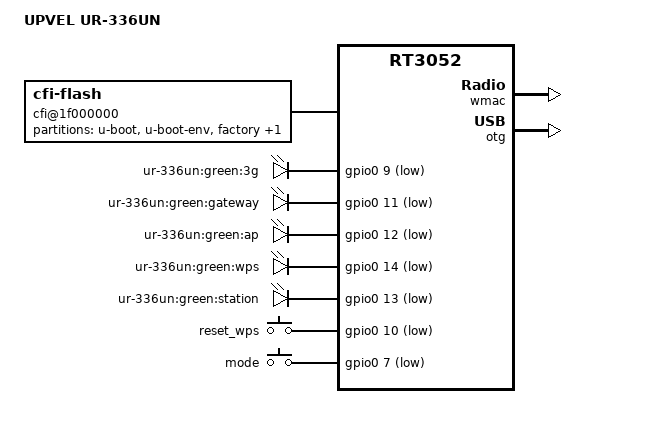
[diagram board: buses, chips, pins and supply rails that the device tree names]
/dts-v1/;

#include "rt3050.dtsi"

#include <dt-bindings/gpio/gpio.h>
#include <dt-bindings/input/input.h>

/ {
	compatible = "upvel,ur-336un", "ralink,rt3052-soc";
	model = "UPVEL UR-336UN";

	aliases {
		led-boot = &led_wps;
		led-failsafe = &led_wps;
		led-running = &led_wps;
		led-upgrade = &led_wps;
	};

	cfi@1f000000 {
		compatible = "cfi-flash";
		reg = <0x1f000000 0x800000>;
		bank-width = <2>;
		device-width = <2>;

		partitions {
			compatible = "fixed-partitions";
			#address-cells = <1>;
			#size-cells = <1>;

			partition@0 {
				label = "u-boot";
				reg = <0x0 0x30000>;
				read-only;
			};

			partition@30000 {
				label = "u-boot-env";
				reg = <0x30000 0x10000>;
				read-only;
			};

			factory: partition@40000 {
				label = "factory";
				reg = <0x40000 0x10000>;
				read-only;
			};

			partition@50000 {
				compatible = "denx,uimage";
				label = "firmware";
				reg = <0x50000 0x7b0000>;
			};
		};
	};

	leds {
		compatible = "gpio-leds";

		3g {
			label = "ur-336un:green:3g";
			gpios = <&gpio0 9 GPIO_ACTIVE_LOW>;
		};

		gateway {
			label = "ur-336un:green:gateway";
			gpios = <&gpio0 11 GPIO_ACTIVE_LOW>;
		};

		ap {
			label = "ur-336un:green:ap";
			gpios = <&gpio0 12 GPIO_ACTIVE_LOW>;
		};

		led_wps: wps {
			label = "ur-336un:green:wps";
			gpios = <&gpio0 14 GPIO_ACTIVE_LOW>;
		};

		station {
			label = "ur-336un:green:station";
			gpios = <&gpio0 13 GPIO_ACTIVE_LOW>;
		};
	};

	keys {
		compatible = "gpio-keys-polled";
		poll-interval = <20>;

		reset_wps {
			label = "reset_wps";
			gpios = <&gpio0 10 GPIO_ACTIVE_LOW>;
			linux,code = <KEY_RESTART>;
		};

		mode {
			label = "mode";
			gpios = <&gpio0 7 GPIO_ACTIVE_LOW>;
			linux,code = <BTN_0>;
		};
	};
};

&pinctrl {
	state_default: pinctrl0 {
		gpio {
			ralink,group = "spi", "i2c", "jtag", "rgmii", "mdio", "uartf";
			ralink,function = "gpio";
		};
	};
};

&ethernet {
	mtd-mac-address = <&factory 0x4004>;
};

&esw {
	mediatek,portmap = <0x2f>;
};

&wmac {
	ralink,mtd-eeprom = <&factory 0>;
};

&otg {
	status = "okay";
};
